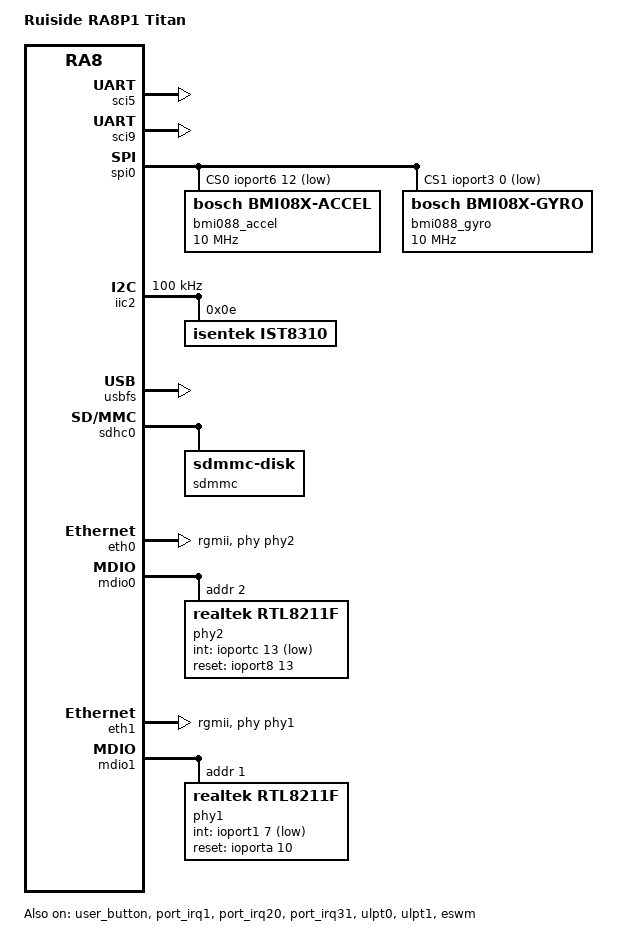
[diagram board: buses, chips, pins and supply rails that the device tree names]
/*
 * SPDX-FileCopyrightText: Copyright The Zephyr Project Contributors
 * SPDX-License-Identifier: Apache-2.0
 */

/dts-v1/;

#include <renesas/ra/ra8/r7ka8p1kflcac_cm85.dtsi>
#include <zephyr/dt-bindings/pwm/pwm.h>
#include "ra8p1_titan.dtsi"

/ {
	model = "Ruiside RA8P1 Titan";
	compatible = "ruiside,ra8p1-titan", "renesas,ra8p1", "renesas,ra8";

	chosen {
		zephyr,console = &uart5;
		zephyr,shell-uart = &uart5;
		zephyr,sram = &sram0;
		zephyr,flash = &code_mram_cm85;
		zephyr,flash-controller = &mram_ctrl;
		zephyr,code-partition = &slot0_partition;
		zephyr,entropy = &trng;
	};

	aliases {
		led0 = &led_red;
		sw0 = &user_button;
		sdhc0 = &sdhc0;
	};
};

&user_button {
	status = "okay";
};

&sci5 {
	pinctrl-0 = <&sci5_default>;
	pinctrl-names = "default";
	interrupts = <0 1>, <1 1>, <2 1>, <3 1>;
	interrupt-names = "rxi", "txi", "tei", "eri";
	status = "okay";

	uart5: uart {
		current-speed = <115200>;
		status = "okay";
	};
};

&sci9 {
	pinctrl-0 = <&sci9_default>;
	pinctrl-names = "default";
	interrupts = <4 1>, <5 1>, <6 1>, <7 1>;
	interrupt-names = "rxi", "txi", "tei", "eri";
	status = "okay";

	uart9: uart {
		current-speed = <115200>;
		status = "okay";
	};
};

&sci1 {
	pinctrl-0 = <&sci1_default>;
	pinctrl-names = "default";
	interrupts = <8 1>, <9 1>, <10 1>, <11 1>;
	interrupt-names = "rxi", "txi", "tei", "eri";

	i2c1: i2c {
		sda-output-delay = <300>;
		noise-filter-clock-select = <1>;
		bit-rate-modulation;
	};
};

&spi0 {
	pinctrl-0 = <&spi0_default>;
	pinctrl-names = "default";
	interrupts = <12 1>, <13 1>, <14 1>, <15 1>;
	interrupt-names = "rxi", "txi", "tei", "eri";
	cs-gpios = <&ioport6 12 GPIO_ACTIVE_LOW>,
		   <&ioport3 0 GPIO_ACTIVE_LOW>;
	status = "okay";

	bmi088_accel: bmi088-accel@0 {
		compatible = "bosch,bmi08x-accel";
		reg = <0>;
		spi-max-frequency = <10000000>;
		accel-hz = "100";
		accel-fs = <6>;
		status = "okay";
	};

	bmi088_gyro: bmi088-gyro@1 {
		compatible = "bosch,bmi08x-gyro";
		reg = <1>;
		spi-max-frequency = <10000000>;
		gyro-hz = "100_32";
		gyro-fs = <2000>;
		status = "okay";
	};
};

&iic2 {
	#address-cells = <1>;
	#size-cells = <0>;
	clock-frequency = <I2C_BITRATE_STANDARD>;
	pinctrl-0 = <&iic2_default>;
	pinctrl-names = "default";
	interrupts = <16 1>, <17 1>, <18 1>, <19 1>;
	interrupt-names = "rxi", "txi", "tei", "eri";
	status = "okay";

	ist8310: magnetometer@e {
		compatible = "isentek,ist8310";
		reg = <0x0e>;
		status = "okay";
	};
};

/* RTL8211F PHY2 interrupt on PC13, mapped to port IRQ1. */
&port_irq1 {
	interrupts = <20 12>;
	status = "okay";
};

/* USER_KEY: user button on P110, mapped to port IRQ20. */
&port_irq20 {
	interrupts = <21 12>;
	status = "okay";
};

/* RTL8211F PHY1 interrupt on P107, mapped to port IRQ31. */
&port_irq31 {
	interrupts = <22 12>;
	status = "okay";
};

&ulpt0 {
	interrupts = <23 1>;
	interrupt-names = "ulpti";
	status = "okay";

	timer {
		status = "okay";
	};
};

&ulpt1 {
	status = "okay";

	timer {
		status = "okay";
	};
};

&usbfs {
	interrupts = <24 12>, <25 12>;
	interrupt-names = "usbfs-i", "usbfs-r";
	status = "okay";

	zephyr_udc0: udc {
		status = "okay";
	};
};

&code_mram_cm85 {
	partitions {
		ranges;
		#address-cells = <1>;
		#size-cells = <1>;

		boot_partition: partition@0 {
			compatible = "zephyr,mapped-partition";
			label = "mcuboot";
			reg = <0x0 DT_SIZE_K(64)>;
		};

		slot0_partition: partition@10000 {
			compatible = "zephyr,mapped-partition";
			label = "image-0";
			reg = <0x10000 DT_SIZE_K(344)>;
		};

		slot1_partition: partition@66000 {
			compatible = "zephyr,mapped-partition";
			label = "image-1";
			reg = <0x66000 DT_SIZE_K(344)>;
		};

		storage_partition: partition@bc000 {
			compatible = "zephyr,mapped-partition";
			label = "storage";
			reg = <0xbc000 DT_SIZE_K(16)>;
		};
	};
};

&sdhc0 {
	interrupt-names = "accs", "card", "dma-req";
	interrupts = <26 12>, <27 12>, <28 12>;
	pinctrl-0 = <&sdhc0_default>;
	pinctrl-names = "default";
	status = "okay";

	sdmmc {
		compatible = "zephyr,sdmmc-disk";
		disk-name = "SD";
		status = "okay";
	};
};

&eswm {
	interrupts = <29 1>;
	interrupt-names = "gwdi";
	status = "okay";
};

&eth0 {
	phy-connection-type = "rgmii";
	local-mac-address = [74 90 50 01 02 03];
	phy-clock-type = "xtal";
	phy-handle = <&phy2>;
	pinctrl-0 = <&eth0_default>;
	pinctrl-names = "default";
	status = "okay";
};

&mdio0 {
	pinctrl-0 = <&mdio0_default>;
	pinctrl-names = "default";
	status = "okay";

	phy2: phy@2 {
		compatible = "realtek,rtl8211f";
		reg = <2>;
		int-gpios = <&ioportc 13 GPIO_ACTIVE_LOW>;
		reset-gpios = <&ioport8 13 GPIO_ACTIVE_HIGH>;
		realtek,rgmii-delay = "rxid";
		status = "okay";
	};
};

&eth1 {
	phy-connection-type = "rgmii";
	local-mac-address = [74 90 50 01 02 04];
	phy-clock-type = "xtal";
	phy-handle = <&phy1>;
	pinctrl-0 = <&eth1_default>;
	pinctrl-names = "default";
	status = "okay";
};

&mdio1 {
	pinctrl-0 = <&mdio1_default>;
	pinctrl-names = "default";
	status = "okay";

	phy1: phy@1 {
		compatible = "realtek,rtl8211f";
		reg = <1>;
		int-gpios = <&ioport1 7 GPIO_ACTIVE_LOW>;
		reset-gpios = <&ioporta 10 GPIO_ACTIVE_HIGH>;
		status = "okay";
	};
};
